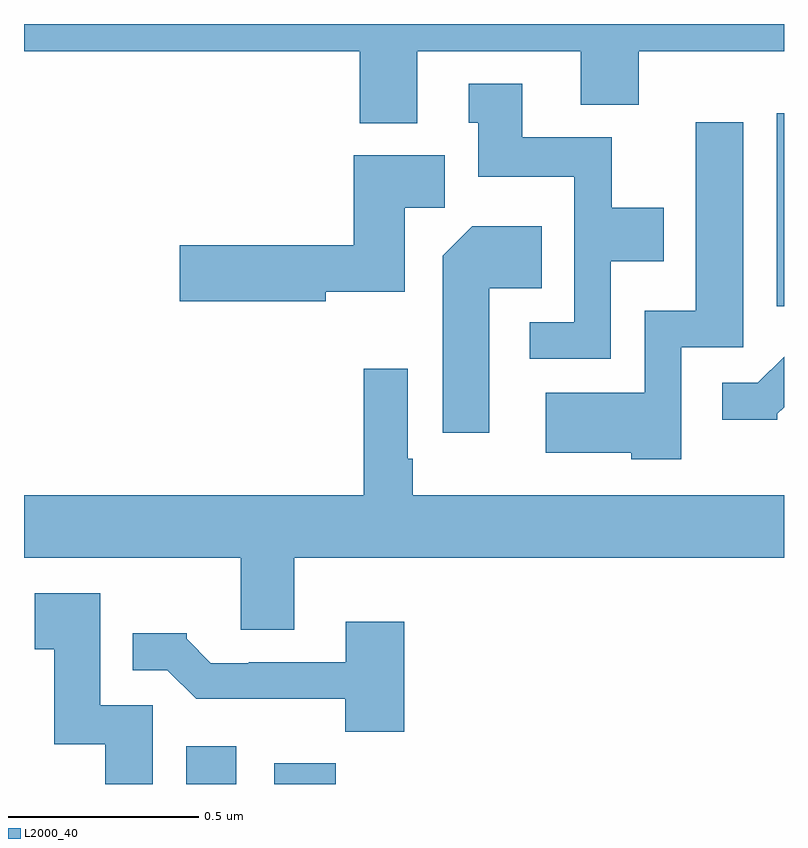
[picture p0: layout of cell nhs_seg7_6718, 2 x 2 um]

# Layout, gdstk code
import gdstk
lib = gdstk.Library(unit=1e-6, precision=1e-09)
def R(c, l, rs):  # rectangles x0, y0, x1, y1
    for r in rs: c.add(gdstk.rectangle(r[:2], r[2:], *l))
def P(c, l, *ps):  # polygons
    for p in ps: c.add(gdstk.Polygon(p, *l))
L2000_40 = (2000, 40)

nhs_seg7_6718 = lib.new_cell('nhs_seg7_6718')
R(nhs_seg7_6718, L2000_40, [(202.427,1020,202.558,1020.1), (202.658,1020,202.82,1020.055), (203.981,1021.257,204,1021.765)])
P(nhs_seg7_6718, L2000_40, [(203.035,1021.928),(203.465,1021.928),(203.465,1021.787),(203.618,1021.787),(203.618,1021.928),(204,1021.928),(204,1022),(202,1022),(202,1021.928),(202.883,1021.928),(202.883,1021.739),(203.035,1021.739)],
  [(203.544,1021.376),(203.683,1021.376),(203.683,1021.516),(203.547,1021.516),(203.547,1021.702),(203.311,1021.702),(203.311,1021.843),(203.171,1021.843),(203.171,1021.74),(203.195,1021.74),(203.195,1021.598),(203.448,1021.598),(203.448,1021.215),(203.331,1021.215),(203.331,1021.119),(203.544,1021.119)],
  [(203.73,1021.149),(203.893,1021.149),(203.893,1021.741),(203.768,1021.741),(203.768,1021.246),(203.634,1021.246),(203.634,1021.03),(203.373,1021.03),(203.373,1020.872),(203.598,1020.872),(203.598,1020.854),(203.73,1020.854)],
  [(202.794,1021.295),(203.002,1021.295),(203.002,1021.516),(203.107,1021.516),(203.107,1021.654),(202.868,1021.654),(202.868,1021.418),(202.41,1021.418),(202.41,1021.271),(202.794,1021.271)],
  [(203.224,1021.304),(203.363,1021.304),(203.363,1021.468),(203.18,1021.468),(203.102,1021.39),(203.102,1020.924),(203.224,1020.924)],
  [(203.982,1020.974),(204,1020.992),(204,1021.125),(203.931,1021.056),(203.838,1021.056),(203.838,1020.959),(203.982,1020.959)],
  [(202.711,1020.596),(204,1020.596),(204,1020.76),(203.023,1020.76),(203.023,1020.856),(203.01,1020.856),(203.01,1021.093),(202.894,1021.093),(202.894,1020.76),(202,1020.76),(202,1020.596),(202.571,1020.596),(202.571,1020.406),(202.711,1020.406)],
  [(202.339,1020.207),(202.201,1020.207),(202.201,1020.502),(202.028,1020.502),(202.028,1020.355),(202.079,1020.355),(202.079,1020.104),(202.214,1020.104),(202.214,1020),(202.339,1020)],
  [(203,1020.427),(202.847,1020.427),(202.847,1020.321),(202.591,1020.321),(202.591,1020.318),(202.492,1020.318),(202.428,1020.382),(202.428,1020.397),(202.286,1020.397),(202.286,1020.3),(202.377,1020.3),(202.453,1020.224),(202.845,1020.224),(202.845,1020.137),(203,1020.137)])

lib.write_gds('nhs_seg7_6718.gds')
